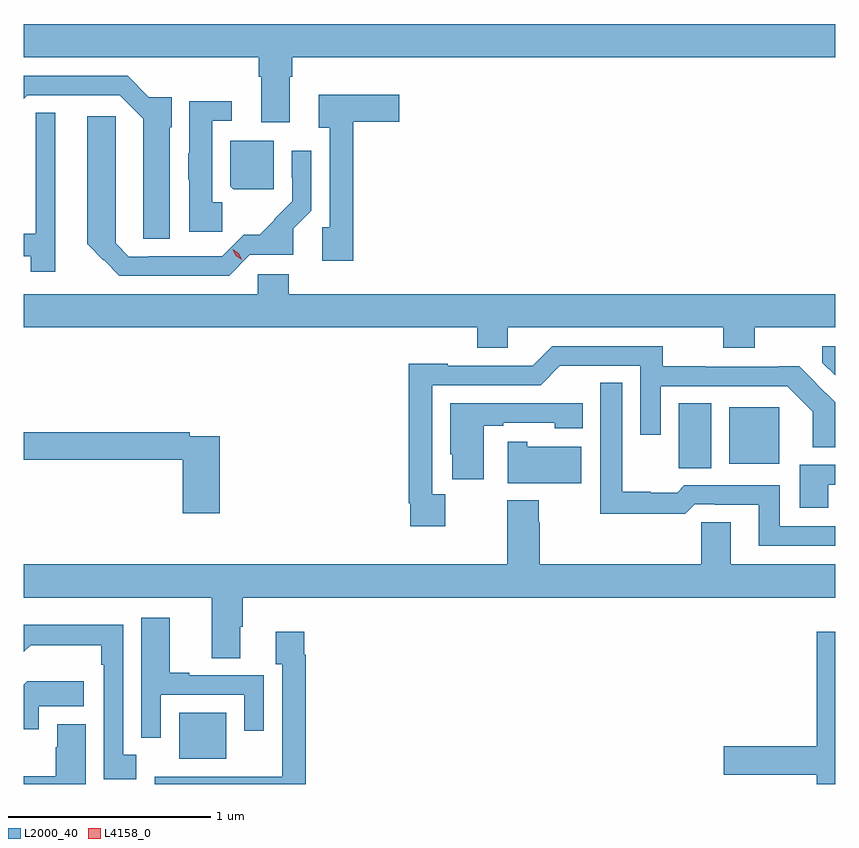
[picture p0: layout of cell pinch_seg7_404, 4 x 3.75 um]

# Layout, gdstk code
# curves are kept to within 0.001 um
import gdstk
lib = gdstk.Library(unit=1e-6, precision=1e-09)
def R(c, l, rs):  # rectangles x0, y0, x1, y1
    for r in rs: c.add(gdstk.rectangle(r[:2], r[2:], *l))
def P(c, l, *ps):  # polygons
    for p in ps: c.add(gdstk.Polygon(p, *l))
L2000_40 = (2000, 40)
L4158_0 = (4158, 0)

pinch_seg7_404 = lib.new_cell('pinch_seg7_404')
R(pinch_seg7_404, L2000_40, [(538.496,1015.805,538.729,1016.032), (540.959,1017.238,541.12,1017.557), (541.208,1017.26,541.456,1017.538)])
P(pinch_seg7_404, L2000_40, [(539.041,1019.168),(539.054,1019.168),(539.054,1019.264),(541.731,1019.264),(541.731,1019.428),(537.731,1019.428),(537.731,1019.264),(538.889,1019.264),(538.889,1019.168),(538.901,1019.168),(538.901,1018.944),(539.041,1018.944)],
  [(538.45,1018.92),(538.459,1018.92),(538.459,1019.067),(538.348,1019.067),(538.243,1019.172),(537.731,1019.172),(537.731,1019.06),(537.747,1019.076),(538.203,1019.076),(538.319,1018.96),(538.319,1018.369),(538.45,1018.369)],
  [(539.356,1018.575),(539.354,1018.575),(539.354,1018.946),(539.581,1018.946),(539.581,1019.08),(539.184,1019.08),(539.184,1018.916),(539.238,1018.916),(539.238,1018.425),(539.202,1018.425),(539.202,1018.26),(539.356,1018.26)],
  [(538.708,1018.548),(538.66,1018.548),(538.66,1018.95),(538.756,1018.95),(538.756,1019.048),(538.547,1019.048),(538.547,1018.791),(538.541,1018.791),(538.541,1018.659),(538.547,1018.659),(538.547,1018.403),(538.708,1018.403)],
  [(537.886,1018.991),(537.789,1018.991),(537.789,1018.393),(537.731,1018.393),(537.731,1018.283),(537.766,1018.283),(537.766,1018.206),(537.886,1018.206)],
  [(538.845,1018.29),(539.06,1018.29),(539.06,1018.419),(539.148,1018.508),(539.148,1018.804),(539.052,1018.804),(539.052,1018.67),(539.055,1018.67),(539.055,1018.554),(538.966,1018.465),(538.968,1018.463),(538.895,1018.39),(538.816,1018.39),(538.71,1018.284),(538.348,1018.284),(538.348,1018.281),(538.248,1018.281),(538.184,1018.346),(538.183,1018.972),(538.043,1018.972),(538.043,1018.341),(538.046,1018.341),(538.123,1018.264),(538.124,1018.265),(538.202,1018.188),(538.743,1018.188)],
  [(538.963,1018.852),(538.748,1018.852),(538.748,1018.629),(538.764,1018.613),(538.963,1018.613)],
  [(540.118,1017.932),(541.18,1017.932),(541.18,1017.833),(541.335,1017.833),(541.335,1017.932),(541.731,1017.932),(541.731,1018.096),(539.036,1018.096),(539.036,1018.194),(538.884,1018.194),(538.884,1018.096),(537.731,1018.096),(537.731,1017.932),(539.966,1017.932),(539.966,1017.833),(540.118,1017.833)],
  [(539.809,1017.109),(539.745,1017.109),(539.745,1017.648),(540.279,1017.648),(540.374,1017.743),(540.77,1017.744),(540.77,1017.402),(540.871,1017.402),(540.871,1017.642),(541.494,1017.642),(541.62,1017.516),(541.62,1017.341),(541.731,1017.341),(541.731,1017.562),(541.555,1017.74),(541.454,1017.74),(541.454,1017.738),(541.091,1017.738),(541.091,1017.74),(540.88,1017.74),(540.88,1017.84),(540.336,1017.84),(540.24,1017.744),(539.82,1017.744),(539.82,1017.754),(539.629,1017.754),(539.629,1017.064),(539.637,1017.064),(539.637,1016.952),(539.809,1016.952)],
  [(541.731,1017.84),(541.668,1017.84),(541.668,1017.759),(541.731,1017.697)],
  [(541.731,1016.952),(541.459,1016.952),(541.459,1017.153),(540.988,1017.153),(540.952,1017.117),(540.821,1017.117),(540.821,1017.121),(540.682,1017.121),(540.682,1017.659),(540.572,1017.659),(540.572,1017.014),(540.992,1017.014),(541.038,1017.06),(541.138,1017.06),(541.138,1017.057),(541.355,1017.057),(541.355,1016.856),(541.731,1016.856)],
  [(539.998,1017.447),(540.094,1017.447),(540.094,1017.462),(540.348,1017.462),(540.348,1017.434),(540.487,1017.434),(540.487,1017.558),(539.834,1017.558),(539.834,1017.306),(539.842,1017.306),(539.842,1017.183),(539.998,1017.183)],
  [(538.697,1017.396),(538.55,1017.396),(538.55,1017.416),(537.731,1017.416),(537.731,1017.28),(538.514,1017.28),(538.514,1017.015),(538.697,1017.015)],
  [(540.478,1017.343),(540.213,1017.343),(540.213,1017.369),(540.117,1017.369),(540.117,1017.164),(540.478,1017.164)],
  [(541.696,1017.156),(541.731,1017.156),(541.731,1017.255),(541.556,1017.255),(541.556,1017.042),(541.696,1017.042)],
  [(538.798,1016.457),(538.811,1016.457),(538.811,1016.6),(541.731,1016.6),(541.731,1016.764),(541.216,1016.764),(541.216,1016.972),(541.07,1016.972),(541.07,1016.764),(540.275,1016.764),(540.275,1016.972),(540.27,1016.972),(540.27,1017.079),(540.115,1017.079),(540.115,1016.764),(537.731,1016.764),(537.731,1016.6),(538.658,1016.6),(538.658,1016.302),(538.798,1016.302)],
  [(538.407,1016.121),(538.818,1016.121),(538.818,1015.944),(538.913,1015.944),(538.913,1016.216),(538.811,1016.216),(538.811,1016.217),(538.546,1016.217),(538.546,1016.23),(538.45,1016.23),(538.45,1016.5),(538.31,1016.5),(538.31,1016.224),(538.311,1016.224),(538.311,1015.908),(538.407,1015.908)],
  [(538.285,1015.824),(538.221,1015.824),(538.221,1016.465),(537.731,1016.465),(537.731,1016.332),(537.765,1016.366),(538.113,1016.366),(538.113,1016.27),(538.125,1016.27),(538.125,1015.705),(538.285,1015.705)],
  [(539.12,1016.318),(539.113,1016.318),(539.113,1016.431),(538.974,1016.431),(538.974,1016.271),(539.004,1016.271),(539.004,1015.716),(538.377,1015.716),(538.377,1015.681),(539.12,1015.681)],
  [(541.731,1016.431),(541.64,1016.431),(541.64,1015.868),(541.182,1015.868),(541.182,1015.726),(541.64,1015.726),(541.64,1015.681),(541.731,1015.681)],
  [(537.804,1016.064),(538.027,1016.064),(538.027,1016.188),(537.748,1016.188),(537.731,1016.171),(537.731,1015.95),(537.804,1015.95)],
  [(538.036,1015.975),(537.896,1015.975),(537.896,1015.862),(537.889,1015.862),(537.889,1015.719),(537.731,1015.719),(537.731,1015.681),(538.036,1015.681)])
P(pinch_seg7_404, L4158_0, [(538.805,1018.265),(538.775,1018.285),(538.761,1018.318),(538.761,1018.318),(538.761,1018.318),(538.791,1018.298),(538.805,1018.266),(538.805,1018.265)])

lib.write_gds('pinch_seg7_404.gds')
